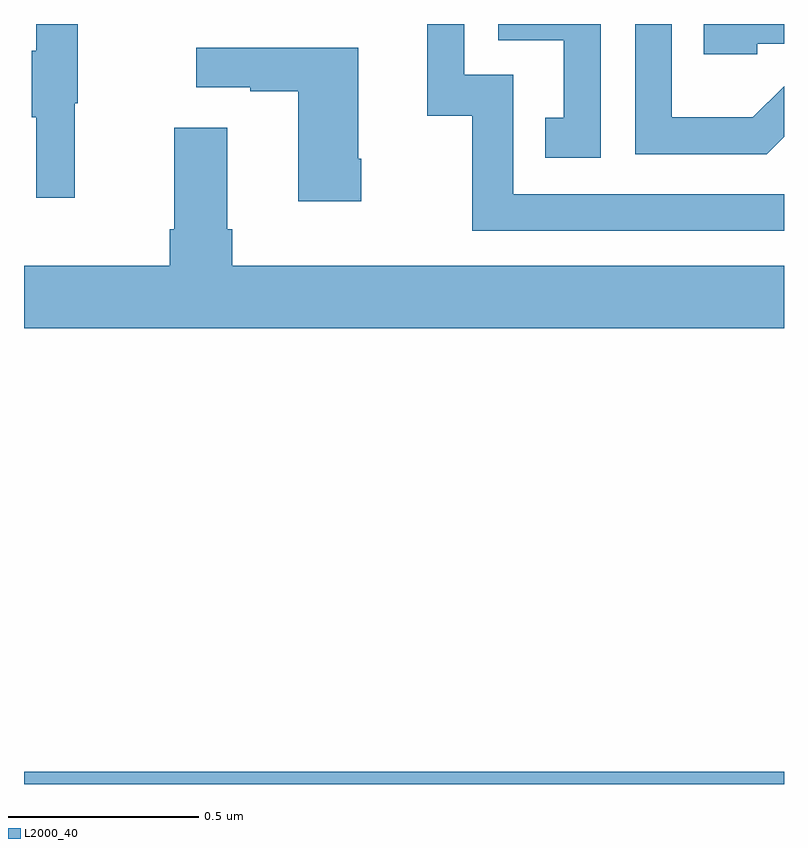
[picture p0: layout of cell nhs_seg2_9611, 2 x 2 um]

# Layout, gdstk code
import gdstk
lib = gdstk.Library(unit=1e-6, precision=1e-09)
def R(c, l, rs):  # rectangles x0, y0, x1, y1
    for r in rs: c.add(gdstk.rectangle(r[:2], r[2:], *l))
def P(c, l, *ps):  # polygons
    for p in ps: c.add(gdstk.Polygon(p, *l))
L2000_40 = (2000, 40)

nhs_seg2_9611 = lib.new_cell('nhs_seg2_9611')
R(nhs_seg2_9611, L2000_40, [(231,615.8,233,615.832)])
P(nhs_seg2_9611, L2000_40, [(232.929,617.748),(233,617.748),(233,617.8),(232.789,617.8),(232.789,617.721),(232.929,617.721)],
  [(231.134,617.592),(231.142,617.592),(231.142,617.8),(231.032,617.8),(231.032,617.729),(231.021,617.729),(231.021,617.555),(231.032,617.555),(231.032,617.343),(231.134,617.343)],
  [(232.518,617.8),(232.248,617.8),(232.248,617.757),(232.421,617.757),(232.421,617.553),(232.372,617.553),(232.372,617.448),(232.518,617.448)],
  [(233,617.352),(232.287,617.352),(232.287,617.667),(232.158,617.667),(232.158,617.8),(232.061,617.8),(232.061,617.559),(232.179,617.559),(232.179,617.256),(233,617.256)],
  [(233,617.503),(233,617.636),(232.918,617.554),(232.704,617.554),(232.704,617.8),(232.608,617.8),(232.608,617.457),(232.954,617.457)],
  [(231.888,617.446),(231.88,617.446),(231.88,617.737),(231.453,617.737),(231.453,617.633),(231.596,617.633),(231.596,617.623),(231.722,617.623),(231.722,617.334),(231.888,617.334)],
  [(233,617.164),(231.548,617.164),(231.548,617.26),(231.535,617.26),(231.535,617.527),(231.395,617.527),(231.395,617.26),(231.383,617.26),(231.383,617.164),(231,617.164),(231,617),(233,617)])

lib.write_gds('nhs_seg2_9611.gds')
